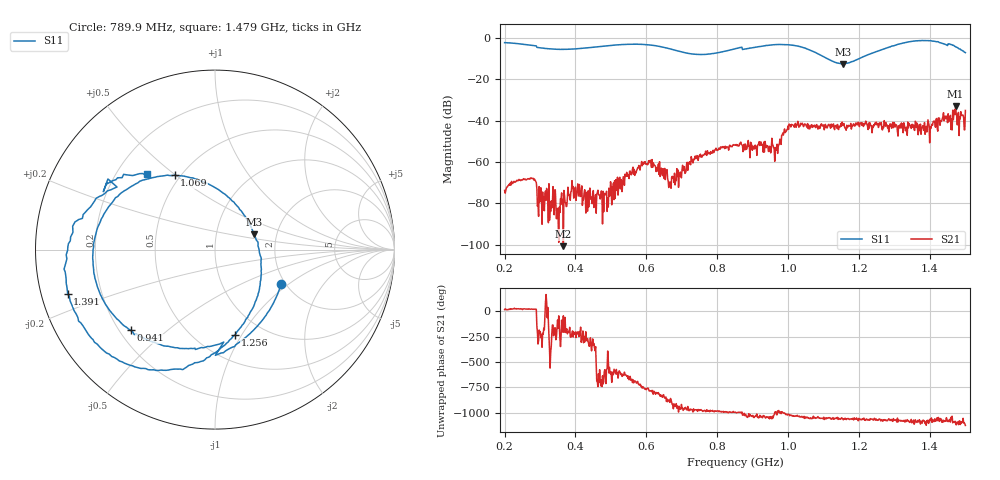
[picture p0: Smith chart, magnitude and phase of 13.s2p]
! NanoVNA-App
! Date: 2024-06-25 16:53:13
! Start: 200MHz Stop: 1.5GHz Points: 801
! S-Parameter data: F S11 S21 S12 S22
# Hz S RI R 50
!  Frequency  S11_Real  S11_Imag  S21_Real  S21_Imag  S12_Real  S12_Imag  S22_Real  S22_Imag
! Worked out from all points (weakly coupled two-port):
!   801 points, 200 MHz to 1.5 GHz, reference 50 ohm
!   highest |S21| = -32.98 dB at 1.472 GHz (marker M1); lowest = -100.7 dB at 365.8 MHz (marker M2)
!   lowest |S11| = -12.7 dB at 1.154 GHz (marker M3), VSWR 1.61, Z = 76.2 + j13.7 ohm
!   |S11| at or under -10 dB: 1.109 GHz to 1.202 GHz (92.66 MHz wide, 8.02 % of centre)
!   S12 and S22 are empty: the file has one direction only
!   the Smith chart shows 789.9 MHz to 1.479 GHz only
!   S11 on the Smith chart (normalised r, x): 789.9 MHz: 1.89, -0.89; 941 MHz: 0.24, -0.38; 1.069 GHz: 0.47, +0.50; 1.256 GHz: 0.75, -0.94; 1.391 GHz: 0.08, -0.15; 1.479 GHz: 0.32, +0.40
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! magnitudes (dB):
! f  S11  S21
! 200 MHz  -2.4  -73.8
! 274.8 MHz  -3.7  -67.7
! 299.1 MHz  -4.9  -79.3
! 365.8 MHz  -5.6  -100.7
! 417.8 MHz  -5.1  -71.6
! 486 MHz  -4.0  -75.9
! 591.6 MHz  -3.3  -61.1
! 633.9 MHz  -4.1  -61.0
! 668 MHz  -5.5  -70.4
! 789.9 MHz  -7.6  -55.5
! 850 MHz  -5.4  -51.9
! 941 MHz  -3.7  -52.4
! 1.006 GHz  -3.5  -42.1
! 1.068 GHz  -6.4  -43.3
! 1.069 GHz  -6.5  -42.4
! 1.154 GHz  -12.7  -42.3
! 1.256 GHz  -6.2  -42.5
! 1.284 GHz  -4.6  -45.5
! 1.391 GHz  -1.3  -45.6
! 1.472 GHz  -4.3  -33.0
! 1.479 GHz  -4.9  -37.0
! 1.5 GHz  -7.2  -35.2
